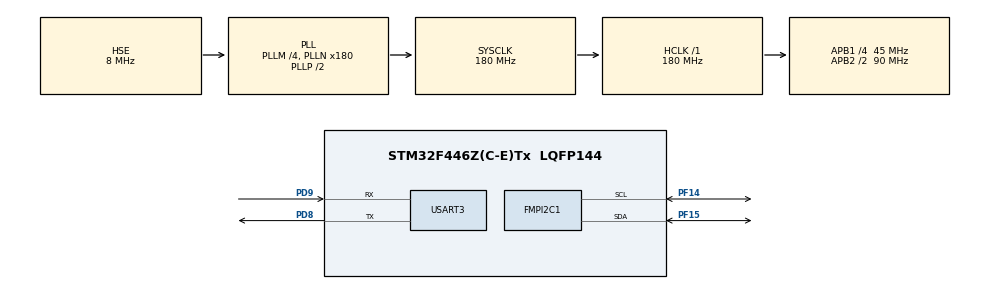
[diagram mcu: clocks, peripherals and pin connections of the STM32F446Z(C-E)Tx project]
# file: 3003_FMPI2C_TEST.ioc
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FMPI2C1.Timing=0xC0000E12
Mcu.Family=STM32F4
Mcu.Name=STM32F446Z(C-E)Tx
Mcu.Package=LQFP144
NVIC.PriorityGroup=NVIC_PRIORITYGROUP_4
PA13.Mode=Serial_Wire
PA13.Signal=SYS_JTMS-SWDIO
PA14.Mode=Serial_Wire
PA14.Signal=SYS_JTCK-SWCLK
PC14-OSC32_IN.Mode=LSE-External-Oscillator
PC14-OSC32_IN.Signal=RCC_OSC32_IN
PC15-OSC32_OUT.Mode=LSE-External-Oscillator
PC15-OSC32_OUT.Signal=RCC_OSC32_OUT
PD8.Mode=Asynchronous
PD8.Signal=USART3_TX
PD9.Mode=Asynchronous
PD9.Signal=USART3_RX
PF14.Mode=I2C
PF14.Signal=FMPI2C1_SCL
PF15.Mode=I2C
PF15.Signal=FMPI2C1_SDA
PH0-OSC_IN.Mode=HSE-External-Oscillator
PH0-OSC_IN.Signal=RCC_OSC_IN
PH1-OSC_OUT.Mode=HSE-External-Oscillator
PH1-OSC_OUT.Signal=RCC_OSC_OUT
ProjectManager.HeapSize=0x200
ProjectManager.StackSize=0x400
ProjectManager.TargetToolchain=STM32CubeIDE
RCC.48MHZClocksFreq_Value=24000000
RCC.AHBFreq_Value=180000000
RCC.APB1CLKDivider=RCC_HCLK_DIV4
RCC.APB1Freq_Value=45000000
RCC.APB1TimFreq_Value=90000000
RCC.APB2CLKDivider=RCC_HCLK_DIV2
RCC.APB2Freq_Value=90000000
RCC.APB2TimFreq_Value=180000000
RCC.CortexFreq_Value=180000000
RCC.HCLKFreq_Value=180000000
RCC.HSE_VALUE=8000000
RCC.HSI_VALUE=16000000
RCC.PLLM=4
RCC.PLLMUL=RCC_PLL_MUL9
RCC.PLLN=180
RCC.PLLQ=7
RCC.PLLSourceVirtual=RCC_PLLSOURCE_HSE
RCC.PRESCALERUSB=RCC_USBCLKSOURCE_PLL_DIV1_5
RCC.SYSCLKFreq_VALUE=180000000
RCC.SYSCLKSource=RCC_SYSCLKSOURCE_PLLCLK
RCC.SYSCLKSourceVirtual=RCC_SYSCLKSOURCE_PLLCLK
RCC.USBFreq_Value=51428571.428571425
RCC.VCOOutputFreq_Value=360000000
USART3.VirtualMode=VM_ASYNC
board=NUCLEO-F446ZE

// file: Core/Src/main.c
/* USER CODE BEGIN Header */
/**
 ******************************************************************************
 * @file           : main.c
 * @brief          : Main program body
 ******************************************************************************
 * @attention
 *
 * Copyright (c) 2026 STMicroelectronics.
 * All rights reserved.
 *
 * This software is licensed under terms that can be found in the LICENSE file
 * in the root directory of this software component.
 * If no LICENSE file comes with this software, it is provided AS-IS.
 *
 ******************************************************************************
 */
/* USER CODE END Header */
#include "main.h"

/* USER CODE BEGIN Includes */
#include <stdio.h>
#include <string.h>
#include <stdint.h>
#include <stdlib.h>
#include <stdbool.h>

#include <BNO055_FMPI2C.h>
/* USER CODE END Includes */

FMPI2C_HandleTypeDef hfmpi2c1;

UART_HandleTypeDef huart3;

void SystemClock_Config(void);
static void MX_GPIO_Init(void);
static void MX_FMPI2C1_Init(void);
static void MX_USART3_UART_Init(void);

int main(void)
{

  /* MCU Configuration--------------------------------------------------------*/

  /* Reset of all peripherals, Initializes the Flash interface and the Systick. */
  HAL_Init();

  /* Configure the system clock */
  SystemClock_Config();

  /* USER CODE BEGIN SysInit */
	bno055_assignI2C(&hfmpi2c1);
	bno055_setup();
	bno055_setOperationModeNDOF();

	HAL_Delay(3000);

  /* USER CODE END SysInit */

  /* Initialize all configured peripherals */
  MX_GPIO_Init();
  MX_FMPI2C1_Init();
  MX_USART3_UART_Init();

  /* Infinite loop */
	while (1) {

    /* USER CODE BEGIN 3 */
		bno055_vector_t v = bno055_getVectorEuler();

		char buffer[60];
		snprintf(buffer, sizeof(buffer),
				"Heading: %.2f  Roll: %.2f  Pitch: %.2f\r\n", v.x, v.y, v.z);

		HAL_UART_Transmit(&huart3, (uint8_t*) buffer, strlen(buffer),
				HAL_MAX_DELAY);
		HAL_Delay(10);
	}
  /* USER CODE END 3 */
}

void SystemClock_Config(void)
{
  RCC_OscInitTypeDef RCC_OscInitStruct = {0};
  RCC_ClkInitTypeDef RCC_ClkInitStruct = {0};

  /** Configure the main internal regulator output voltage
  */
  __HAL_RCC_PWR_CLK_ENABLE();
  __HAL_PWR_VOLTAGESCALING_CONFIG(PWR_REGULATOR_VOLTAGE_SCALE1);

  /** Initializes the RCC Oscillators according to the specified parameters
  * in the RCC_OscInitTypeDef structure.
  */
  RCC_OscInitStruct.OscillatorType = RCC_OSCILLATORTYPE_HSE;
  RCC_OscInitStruct.HSEState = RCC_HSE_ON;
  RCC_OscInitStruct.PLL.PLLState = RCC_PLL_ON;
  RCC_OscInitStruct.PLL.PLLSource = RCC_PLLSOURCE_HSE;
  RCC_OscInitStruct.PLL.PLLM = 4;
  RCC_OscInitStruct.PLL.PLLN = 180;
  RCC_OscInitStruct.PLL.PLLP = RCC_PLLP_DIV2;
  RCC_OscInitStruct.PLL.PLLQ = 7;
  RCC_OscInitStruct.PLL.PLLR = 2;
  if (HAL_RCC_OscConfig(&RCC_OscInitStruct) != HAL_OK)
  {
    Error_Handler();
  }

  /** Activate the Over-Drive mode
  */
  if (HAL_PWREx_EnableOverDrive() != HAL_OK)
  {
    Error_Handler();
  }

  /** Initializes the CPU, AHB and APB buses clocks
  */
  RCC_ClkInitStruct.ClockType = RCC_CLOCKTYPE_HCLK|RCC_CLOCKTYPE_SYSCLK
                              |RCC_CLOCKTYPE_PCLK1|RCC_CLOCKTYPE_PCLK2;
  RCC_ClkInitStruct.SYSCLKSource = RCC_SYSCLKSOURCE_PLLCLK;
  RCC_ClkInitStruct.AHBCLKDivider = RCC_SYSCLK_DIV1;
  RCC_ClkInitStruct.APB1CLKDivider = RCC_HCLK_DIV4;
  RCC_ClkInitStruct.APB2CLKDivider = RCC_HCLK_DIV2;

  if (HAL_RCC_ClockConfig(&RCC_ClkInitStruct, FLASH_LATENCY_5) != HAL_OK)
  {
    Error_Handler();
  }
}

static void MX_FMPI2C1_Init(void)
{

  hfmpi2c1.Instance = FMPI2C1;
  hfmpi2c1.Init.Timing = 0xC0000E12;
  hfmpi2c1.Init.OwnAddress1 = 0;
  hfmpi2c1.Init.AddressingMode = FMPI2C_ADDRESSINGMODE_7BIT;
  hfmpi2c1.Init.DualAddressMode = FMPI2C_DUALADDRESS_DISABLE;
  hfmpi2c1.Init.OwnAddress2 = 0;
  hfmpi2c1.Init.OwnAddress2Masks = FMPI2C_OA2_NOMASK;
  hfmpi2c1.Init.GeneralCallMode = FMPI2C_GENERALCALL_DISABLE;
  hfmpi2c1.Init.NoStretchMode = FMPI2C_NOSTRETCH_DISABLE;
  if (HAL_FMPI2C_Init(&hfmpi2c1) != HAL_OK)
  {
    Error_Handler();
  }

  /** Configure Analogue filter
  */
  if (HAL_FMPI2CEx_ConfigAnalogFilter(&hfmpi2c1, FMPI2C_ANALOGFILTER_ENABLE) != HAL_OK)
  {
    Error_Handler();
  }

}

static void MX_USART3_UART_Init(void)
{

  huart3.Instance = USART3;
  huart3.Init.BaudRate = 115200;
  huart3.Init.WordLength = UART_WORDLENGTH_8B;
  huart3.Init.StopBits = UART_STOPBITS_1;
  huart3.Init.Parity = UART_PARITY_NONE;
  huart3.Init.Mode = UART_MODE_TX_RX;
  huart3.Init.HwFlowCtl = UART_HWCONTROL_NONE;
  huart3.Init.OverSampling = UART_OVERSAMPLING_16;
  if (HAL_UART_Init(&huart3) != HAL_OK)
  {
    Error_Handler();
  }

}

static void MX_GPIO_Init(void)
{

  /* GPIO Ports Clock Enable */
  __HAL_RCC_GPIOC_CLK_ENABLE();
  __HAL_RCC_GPIOH_CLK_ENABLE();
  __HAL_RCC_GPIOF_CLK_ENABLE();
  __HAL_RCC_GPIOD_CLK_ENABLE();
  __HAL_RCC_GPIOA_CLK_ENABLE();

}

void Error_Handler(void)
{
	__disable_irq();
	while (1) {
	}
}
